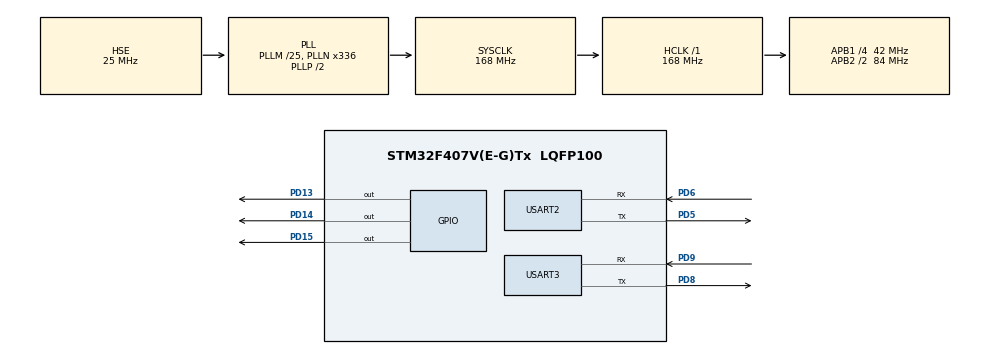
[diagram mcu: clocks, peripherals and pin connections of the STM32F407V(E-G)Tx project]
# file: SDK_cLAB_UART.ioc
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Dma.Request0=USART2_TX
Dma.Request1=USART3_RX
Dma.USART2_TX.0.Direction=DMA_MEMORY_TO_PERIPH
Dma.USART2_TX.0.FIFOMode=DMA_FIFOMODE_DISABLE
Dma.USART2_TX.0.Instance=DMA1_Stream6
Dma.USART2_TX.0.MemDataAlignment=DMA_MDATAALIGN_BYTE
Dma.USART2_TX.0.MemInc=DMA_MINC_ENABLE
Dma.USART2_TX.0.Mode=DMA_NORMAL
Dma.USART2_TX.0.PeriphDataAlignment=DMA_PDATAALIGN_BYTE
Dma.USART2_TX.0.PeriphInc=DMA_PINC_DISABLE
Dma.USART2_TX.0.Priority=DMA_PRIORITY_MEDIUM
Dma.USART3_RX.1.Direction=DMA_PERIPH_TO_MEMORY
Dma.USART3_RX.1.FIFOMode=DMA_FIFOMODE_DISABLE
Dma.USART3_RX.1.Instance=DMA1_Stream1
Dma.USART3_RX.1.MemDataAlignment=DMA_MDATAALIGN_BYTE
Dma.USART3_RX.1.MemInc=DMA_MINC_ENABLE
Dma.USART3_RX.1.Mode=DMA_NORMAL
Dma.USART3_RX.1.PeriphDataAlignment=DMA_PDATAALIGN_BYTE
Dma.USART3_RX.1.PeriphInc=DMA_PINC_DISABLE
Dma.USART3_RX.1.Priority=DMA_PRIORITY_MEDIUM
IWDG.Prescaler=IWDG_PRESCALER_64
Mcu.Family=STM32F4
Mcu.Name=STM32F407V(E-G)Tx
Mcu.Package=LQFP100
NVIC.DMA1_Stream1_IRQn=true\:0\:0\:false\:false\:true\:false\:true
NVIC.DMA1_Stream6_IRQn=true\:0\:0\:false\:false\:true\:false\:true
NVIC.PriorityGroup=NVIC_PRIORITYGROUP_4
NVIC.TIM1_UP_TIM10_IRQn=true\:0\:0\:false\:false\:true\:true\:true
NVIC.USART3_IRQn=true\:0\:0\:false\:false\:true\:true\:true
PA13.Mode=JTAG_5_pins
PA13.Signal=SYS_JTMS-SWDIO
PA14.Mode=JTAG_5_pins
PA14.Signal=SYS_JTCK-SWCLK
PA15.Mode=JTAG_5_pins
PA15.Signal=SYS_JTDI
PB3.Mode=JTAG_5_pins
PB3.Signal=SYS_JTDO-SWO
PB4.Mode=JTAG_5_pins
PB4.Signal=SYS_JTRST
PD13.GPIO_Speed=GPIO_SPEED_FREQ_HIGH
PD13.PinState=GPIO_PIN_RESET
PD13.Signal=GPIO_Output
PD14.GPIO_Speed=GPIO_SPEED_FREQ_HIGH
PD14.PinState=GPIO_PIN_RESET
PD14.Signal=GPIO_Output
PD15.GPIO_Speed=GPIO_SPEED_FREQ_HIGH
PD15.Signal=GPIO_Output
PD5.Mode=Asynchronous
PD5.Signal=USART2_TX
PD6.Mode=Asynchronous
PD6.Signal=USART2_RX
PD8.Mode=Asynchronous
PD8.Signal=USART3_TX
PD9.Mode=Asynchronous
PD9.Signal=USART3_RX
PH0-OSC_IN.Mode=HSE-External-Oscillator
PH0-OSC_IN.Signal=RCC_OSC_IN
PH1-OSC_OUT.Mode=HSE-External-Oscillator
PH1-OSC_OUT.Signal=RCC_OSC_OUT
ProjectManager.HeapSize=0x200
ProjectManager.StackSize=0x400
ProjectManager.TargetToolchain=STM32CubeIDE
RCC.48MHZClocksFreq_Value=84000000
RCC.AHBFreq_Value=168000000
RCC.APB1CLKDivider=RCC_HCLK_DIV4
RCC.APB1Freq_Value=42000000
RCC.APB1TimFreq_Value=84000000
RCC.APB2CLKDivider=RCC_HCLK_DIV2
RCC.APB2Freq_Value=84000000
RCC.APB2TimFreq_Value=168000000
RCC.CortexFreq_Value=168000000
RCC.HCLKFreq_Value=168000000
RCC.HSE_VALUE=25000000
RCC.HSI_VALUE=16000000
RCC.LSE_VALUE=32768
RCC.PLLM=25
RCC.PLLN=336
RCC.PLLSourceVirtual=RCC_PLLSOURCE_HSE
RCC.SYSCLKFreq_VALUE=168000000
RCC.SYSCLKSource=RCC_SYSCLKSOURCE_PLLCLK
RCC.VCOOutputFreq_Value=336000000
TIM10.Period=4999
TIM10.Prescaler=16799
USART2.VirtualMode=VM_ASYNC
USART3.VirtualMode=VM_ASYNC
VP_IWDG_VS_IWDG.Mode=IWDG_Activate
VP_TIM10_VS_ClockSourceINT.Mode=Enable_Timer
board=custom

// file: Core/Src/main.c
/* USER CODE BEGIN Header */
/**
  ******************************************************************************
  * @file           : main.c
  * @brief          : Main program body
  ******************************************************************************
  * @attention
  *
  * <h2><center>&copy; Copyright (c) 2020 STMicroelectronics.
  * All rights reserved.</center></h2>
  *
  * This software component is licensed by ST under BSD 3-Clause license,
  * the "License"; You may not use this file except in compliance with the
  * License. You may obtain a copy of the License at:
  *                        opensource.org/licenses/BSD-3-Clause
  *
  ******************************************************************************
  */
/* USER CODE END Header */
#include "main.h"
#include "dma.h"
#include "iwdg.h"
#include "tim.h"
#include "usart.h"
#include "gpio.h"

/* USER CODE BEGIN Includes */
#include "trace.h"
/* USER CODE END Includes */

/* USER CODE BEGIN PV */

char buf[BUF_LENGTH] = {0};
uint16_t tim_count = 0;

/* USER CODE END PV */

void SystemClock_Config(void);

/* USER CODE BEGIN 0 */

void HAL_UART_RxCpltCallback(UART_HandleTypeDef *huart)
{
	if (huart->Instance == USART3)
	{
		SDK_TRACE_Timestamp(P0, 1);
		SDK_TRACE_Print(buf);
		SDK_TRACE_Timestamp(P0, 0);

		HAL_UART_Receive_DMA(&huart3, (uint8_t *)buf, BUF_LENGTH);
	}
}

/* USER CODE END 0 */

int main(void)
{

  /* MCU Configuration--------------------------------------------------------*/

  /* Reset of all peripherals, Initializes the Flash interface and the Systick. */
  HAL_Init();

  /* Configure the system clock */
  SystemClock_Config();

  /* Initialize all configured peripherals */
  MX_GPIO_Init();
  MX_DMA_Init();
  MX_IWDG_Init();
  MX_USART2_UART_Init();
  MX_USART3_UART_Init();
  MX_TIM10_Init();
  /* USER CODE BEGIN 2 */

  /* Do not remove this code below */
  MX_TRACE_Init();
  SDK_TRACE_Start();
  /* Do not remove this code from above */

  /* Place your code from here */

  HAL_UART_Receive_DMA(&huart3, (uint8_t *)buf, BUF_LENGTH);
  HAL_TIM_Base_Start_IT(&htim10);

  /* Place your code before here */
  /* Do not remove this code below */
//  SDK_TRACE_Stop();
  /* Do not remove this code from above */

  /* USER CODE END 2 */

  /* Infinite loop */
  while (1)
  {

    /* USER CODE BEGIN 3 */

	  if(tim_count > MAX_COUNT)
		  SDK_TRACE_Stop();
  }
  /* USER CODE END 3 */
}

void SystemClock_Config(void)
{
  RCC_OscInitTypeDef RCC_OscInitStruct = {0};
  RCC_ClkInitTypeDef RCC_ClkInitStruct = {0};

  /** Configure the main internal regulator output voltage
  */
  __HAL_RCC_PWR_CLK_ENABLE();
  __HAL_PWR_VOLTAGESCALING_CONFIG(PWR_REGULATOR_VOLTAGE_SCALE1);
  /** Initializes the RCC Oscillators according to the specified parameters
  * in the RCC_OscInitTypeDef structure.
  */
  RCC_OscInitStruct.OscillatorType = RCC_OSCILLATORTYPE_LSI|RCC_OSCILLATORTYPE_HSE;
  RCC_OscInitStruct.HSEState = RCC_HSE_ON;
  RCC_OscInitStruct.LSIState = RCC_LSI_ON;
  RCC_OscInitStruct.PLL.PLLState = RCC_PLL_ON;
  RCC_OscInitStruct.PLL.PLLSource = RCC_PLLSOURCE_HSE;
  RCC_OscInitStruct.PLL.PLLM = 25;
  RCC_OscInitStruct.PLL.PLLN = 336;
  RCC_OscInitStruct.PLL.PLLP = RCC_PLLP_DIV2;
  RCC_OscInitStruct.PLL.PLLQ = 4;
  if (HAL_RCC_OscConfig(&RCC_OscInitStruct) != HAL_OK)
  {
    Error_Handler();
  }
  /** Initializes the CPU, AHB and APB buses clocks
  */
  RCC_ClkInitStruct.ClockType = RCC_CLOCKTYPE_HCLK|RCC_CLOCKTYPE_SYSCLK
                              |RCC_CLOCKTYPE_PCLK1|RCC_CLOCKTYPE_PCLK2;
  RCC_ClkInitStruct.SYSCLKSource = RCC_SYSCLKSOURCE_PLLCLK;
  RCC_ClkInitStruct.AHBCLKDivider = RCC_SYSCLK_DIV1;
  RCC_ClkInitStruct.APB1CLKDivider = RCC_HCLK_DIV4;
  RCC_ClkInitStruct.APB2CLKDivider = RCC_HCLK_DIV2;

  if (HAL_RCC_ClockConfig(&RCC_ClkInitStruct, FLASH_LATENCY_5) != HAL_OK)
  {
    Error_Handler();
  }
}

void Error_Handler(void)
{
}

/************************ (C) COPYRIGHT STMicroelectronics *****END OF FILE****/
